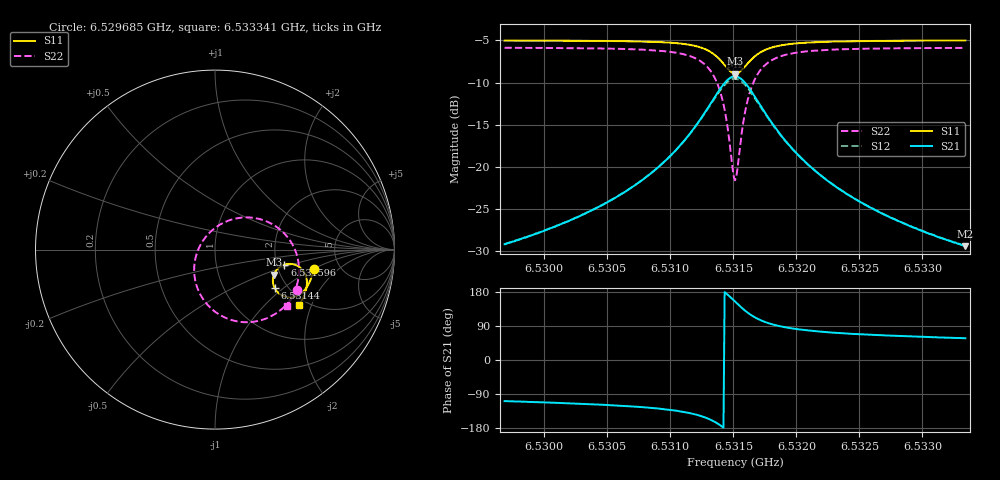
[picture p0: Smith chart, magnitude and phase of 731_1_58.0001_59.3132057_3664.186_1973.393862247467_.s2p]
#  HZ  S  RI  R  50.00
! Rohde & Schwarz Vector Network Analyzer
! Rohde-Schwarz,ZNB20-2Port,1311601062101988,3.16
! Created: UTC 3/21/2024, 1:23:05 AM
! freq[Hz]  re:S11  im:S11  re:S21  im:S21  re:S12  im:S12  re:S22  im:S22
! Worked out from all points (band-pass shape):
!   401 points, 6.529685 GHz to 6.533341 GHz, reference 50 ohm
!   highest |S21| = -9.27 dB at 6.531513 GHz (marker M1); lowest = -29.4 dB at 6.533341 GHz (marker M2)
!   |S21| within 3 dB of the highest: 6.53133 GHz to 6.531696 GHz (365.8 kHz wide, 0.0056 % of centre)
!   lowest |S11| = -8.9 dB at 6.531513 GHz (marker M3), VSWR 2.11, Z = 92.7 - j29.7 ohm
!   |S11| at or under -10 dB: nowhere
!   |S22| runs from -21.6 to -5.9 dB; largest |S21 - S12| = 0.015
!   S11 on the Smith chart (normalised r, x): 6.529685 GHz: 3.21, -0.99; 6.53144 GHz: 1.72, -0.87; 6.531596 GHz: 2.20, -0.44; 6.533341 GHz: 1.81, -1.64
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6.5296855e9  0.5501 -0.1057  -0.0111 -0.033  -0.0119 -0.0328  0.4562 -0.2237
6.5302978e9  0.5362 -0.1576  -0.0225 -0.0467  -0.0236 -0.0462  0.4191 -0.2817
6.5306451e9  0.522 -0.1911  -0.0371 -0.061  -0.0389 -0.0601  0.3803 -0.3241
6.5309101e9  0.5029 -0.2214  -0.0624 -0.0789  -0.0645 -0.077  0.3246 -0.3649
6.5311295e9  0.47 -0.2508  -0.1113 -0.0988  -0.1143 -0.0946  0.2269 -0.4004
6.5312849e9  0.4182 -0.2658  -0.1918 -0.0988  -0.1937 -0.0903  0.0817 -0.3891
6.5313762e9  0.3671 -0.2517  -0.2697 -0.058  -0.267 -0.0463  -0.0444 -0.3043
6.5314128e9  0.3454 -0.2332  -0.3014 -0.0202  -0.295 -0.00823  -0.0897 -0.2344
6.5314402e9  0.3319 -0.2128  -0.3193 0.0186  -0.31 0.0296  -0.1112 -0.1663
6.5314951e9  0.3235 -0.1587  -0.3223 0.1159  -0.3086 0.1212  -0.0964 -0.00663
6.5315133e9  0.3284 -0.1396  -0.3103 0.1488  -0.2964 0.1515  -0.0705 0.0444
6.5315316e9  0.3371 -0.1221  -0.292 0.1785  -0.2787 0.1789  -0.0353 0.0893
6.5315682e9  0.3634 -0.0953  -0.2422 0.2233  -0.2314 0.2201  0.054 0.1528
6.5315956e9  0.3868 -0.0839  -0.2 0.2415  -0.1916 0.2369  0.1263 0.1752
6.5316321e9  0.4174 -0.0794  -0.1469 0.2482  -0.1412 0.2433  0.2158 0.1767
6.5316687e9  0.4432 -0.0836  -0.1026 0.2412  -0.0988 0.2369  0.2885 0.1567
6.5317784e9  0.4891 -0.1151  -0.0246 0.1937  -0.023 0.1916  0.4124 0.0588
6.5319063e9  0.5077 -0.151  0.00826 0.1448  0.00968 0.1438  0.4585 -0.038
6.5321257e9  0.5119 -0.1937  0.0224 0.0957  0.0236 0.0953  0.4675 -0.1378
6.532409e9  0.5052 -0.2304  0.0236 0.0644  0.0247 0.0639  0.4537 -0.2077
6.532738e9  0.4934 -0.2622  0.0218 0.0455  0.0226 0.0452  0.4338 -0.2566
6.5333412e9  0.4688 -0.309  0.0183 0.0286  0.019 0.0284  0.3986 -0.3141
